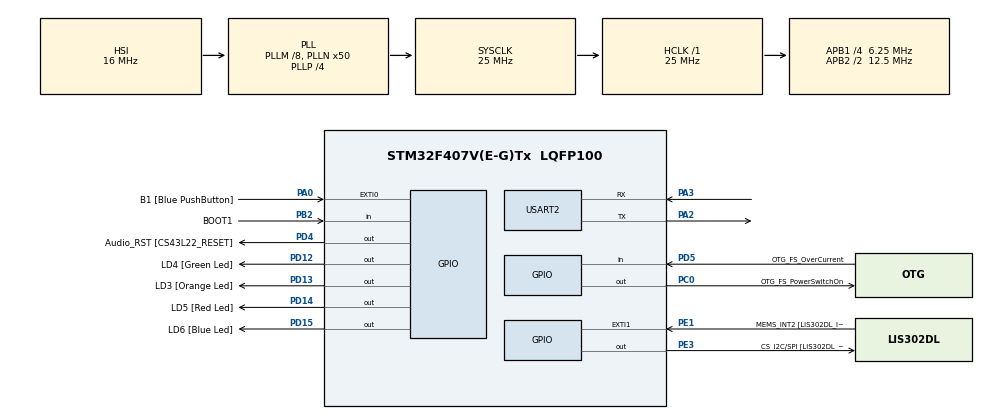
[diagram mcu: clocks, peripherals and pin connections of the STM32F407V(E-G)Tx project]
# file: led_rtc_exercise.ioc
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Mcu.Family=STM32F4
Mcu.Name=STM32F407V(E-G)Tx
Mcu.Package=LQFP100
NVIC.PriorityGroup=NVIC_PRIORITYGROUP_4
NVIC.TIM6_DAC_IRQn=true\:15\:0\:false\:false\:true\:false\:true\:true
NVIC.TimeBase=TIM6_DAC_IRQn
NVIC.TimeBaseIP=TIM6
NVIC.USART2_IRQn=true\:6\:0\:true\:false\:true\:true\:true\:true
PA0-WKUP.GPIO_Label=B1 [Blue PushButton]
PA0-WKUP.Signal=GPXTI0
PA10.GPIO_Label=OTG_FS_ID
PA10.GPIO_Mode=GPIO_MODE_AF_PP
PA10.GPIO_PuPd=GPIO_NOPULL
PA10.GPIO_Speed=GPIO_SPEED_FREQ_LOW
PA10.Signal=USB_OTG_FS_ID
PA11.GPIO_Label=OTG_FS_DM
PA11.GPIO_Mode=GPIO_MODE_AF_PP
PA11.GPIO_PuPd=GPIO_NOPULL
PA11.GPIO_Speed=GPIO_SPEED_FREQ_LOW
PA11.Signal=USB_OTG_FS_DM
PA12.GPIO_Label=OTG_FS_DP
PA12.GPIO_Mode=GPIO_MODE_AF_PP
PA12.GPIO_PuPd=GPIO_NOPULL
PA12.GPIO_Speed=GPIO_SPEED_FREQ_LOW
PA12.Signal=USB_OTG_FS_DP
PA13.GPIO_Label=SWDIO
PA13.Signal=SYS_JTMS-SWDIO
PA14.GPIO_Label=SWCLK
PA14.Signal=SYS_JTCK-SWCLK
PA2.Mode=Asynchronous
PA2.Signal=USART2_TX
PA3.Mode=Asynchronous
PA3.Signal=USART2_RX
PA4.GPIO_Label=I2S3_WS [CS43L22_LRCK]
PA4.GPIO_Mode=GPIO_MODE_AF_PP
PA4.GPIO_PuPd=GPIO_NOPULL
PA4.GPIO_Speed=GPIO_SPEED_FREQ_LOW
PA4.Signal=I2S3_WS
PA5.GPIO_Label=SPI1_SCK [LIS302DL_SCL/SPC]
PA5.GPIO_Mode=GPIO_MODE_AF_PP
PA5.GPIO_PuPd=GPIO_NOPULL
PA5.GPIO_Speed=GPIO_SPEED_FREQ_LOW
PA5.Signal=SPI1_SCK
PA6.GPIO_Label=SPI1_MISO [LIS302DL_SDO]
PA6.GPIO_Mode=GPIO_MODE_AF_PP
PA6.GPIO_PuPd=GPIO_NOPULL
PA6.GPIO_Speed=GPIO_SPEED_FREQ_LOW
PA6.Signal=SPI1_MISO
PA7.GPIO_Label=SPI1_MOSI [LIS302DL_SDA/SDI/SDO]
PA7.GPIO_Mode=GPIO_MODE_AF_PP
PA7.GPIO_PuPd=GPIO_NOPULL
PA7.GPIO_Speed=GPIO_SPEED_FREQ_LOW
PA7.Signal=SPI1_MOSI
PA9.GPIO_Label=VBUS_FS
PA9.GPIO_Mode=GPIO_MODE_INPUT
PA9.GPIO_PuPd=GPIO_NOPULL
PA9.Signal=USB_OTG_FS_VBUS
PB10.GPIO_Label=CLK_IN [MP45DT02_CLK]
PB10.GPIO_Mode=GPIO_MODE_AF_PP
PB10.GPIO_PuPd=GPIO_NOPULL
PB10.GPIO_Speed=GPIO_SPEED_FREQ_LOW
PB10.Signal=I2S2_CK
PB2.GPIO_Label=BOOT1
PB2.GPIO_Mode=GPIO_MODE_INPUT
PB2.GPIO_PuPd=GPIO_NOPULL
PB2.Signal=GPIO_Input
PB3.GPIO_Label=SWO
PB3.Signal=SYS_JTDO-SWO
PB6.GPIO_Label=Audio_SCL [CS43L22_SCL]
PB6.GPIO_Mode=GPIO_MODE_AF_OD
PB6.GPIO_PuPd=GPIO_NOPULL
PB6.GPIO_Speed=GPIO_SPEED_FREQ_LOW
PB6.Signal=I2C1_SCL
PB9.GPIO_Label=Audio_SDA [CS43L22_SDA]
PB9.GPIO_Mode=GPIO_MODE_AF_OD
PB9.GPIO_PuPd=GPIO_NOPULL
PB9.GPIO_Speed=GPIO_SPEED_FREQ_LOW
PB9.Signal=I2C1_SDA
PC0.GPIO_Label=OTG_FS_PowerSwitchOn
PC0.GPIO_PuPd=GPIO_NOPULL
PC0.GPIO_Speed=GPIO_SPEED_FREQ_LOW
PC0.PinState=GPIO_PIN_SET
PC0.Signal=GPIO_Output
PC10.GPIO_Label=I2S3_SCK [CS43L22_SCLK]
PC10.GPIO_Mode=GPIO_MODE_AF_PP
PC10.GPIO_PuPd=GPIO_NOPULL
PC10.GPIO_Speed=GPIO_SPEED_FREQ_LOW
PC10.Signal=I2S3_CK
PC12.GPIO_Label=I2S3_SD [CS43L22_SDIN]
PC12.GPIO_Mode=GPIO_MODE_AF_PP
PC12.GPIO_PuPd=GPIO_NOPULL
PC12.GPIO_Speed=GPIO_SPEED_FREQ_LOW
PC12.Signal=I2S3_SD
PC14-OSC32_IN.GPIO_Label=PC14-OSC32_IN
PC14-OSC32_IN.Signal=RCC_OSC32_IN
PC15-OSC32_OUT.GPIO_Label=PC15-OSC32_OUT
PC15-OSC32_OUT.Signal=RCC_OSC32_OUT
PC3.GPIO_Label=PDM_OUT [MP45DT02_DOUT]
PC3.GPIO_Mode=GPIO_MODE_AF_PP
PC3.GPIO_PuPd=GPIO_NOPULL
PC3.GPIO_Speed=GPIO_SPEED_FREQ_LOW
PC3.Signal=I2S2_SD
PC7.GPIO_Label=I2S3_MCK [CS43L22_MCLK]
PC7.GPIO_Mode=GPIO_MODE_AF_PP
PC7.GPIO_PuPd=GPIO_NOPULL
PC7.GPIO_Speed=GPIO_SPEED_FREQ_LOW
PC7.Signal=I2S3_MCK
PD12.GPIO_Label=LD4 [Green Led]
PD12.GPIO_PuPd=GPIO_NOPULL
PD12.GPIO_Speed=GPIO_SPEED_FREQ_LOW
PD12.Signal=GPIO_Output
PD13.GPIO_Label=LD3 [Orange Led]
PD13.GPIO_PuPd=GPIO_NOPULL
PD13.GPIO_Speed=GPIO_SPEED_FREQ_LOW
PD13.Signal=GPIO_Output
PD14.GPIO_Label=LD5 [Red Led]
PD14.GPIO_PuPd=GPIO_NOPULL
PD14.GPIO_Speed=GPIO_SPEED_FREQ_LOW
PD14.Signal=GPIO_Output
PD15.GPIO_Label=LD6 [Blue Led]
PD15.GPIO_PuPd=GPIO_NOPULL
PD15.GPIO_Speed=GPIO_SPEED_FREQ_LOW
PD15.Signal=GPIO_Output
PD4.GPIO_Label=Audio_RST [CS43L22_RESET]
PD4.GPIO_PuPd=GPIO_NOPULL
PD4.GPIO_Speed=GPIO_SPEED_FREQ_LOW
PD4.Signal=GPIO_Output
PD5.GPIO_Label=OTG_FS_OverCurrent
PD5.GPIO_Mode=GPIO_MODE_INPUT
PD5.GPIO_PuPd=GPIO_NOPULL
PD5.Signal=GPIO_Input
PE1.GPIO_Label=MEMS_INT2 [LIS302DL_INT2]
PE1.GPIO_ModeDefaultEXTI=GPIO_MODE_EVT_RISING
PE1.GPIO_PuPd=GPIO_NOPULL
PE1.Signal=GPXTI1
PE3.GPIO_Label=CS_I2C/SPI [LIS302DL_CS_I2C/SPI]
PE3.GPIO_PuPd=GPIO_NOPULL
PE3.GPIO_Speed=GPIO_SPEED_FREQ_LOW
PE3.Signal=GPIO_Output
PH0-OSC_IN.GPIO_Label=PH0-OSC_IN
PH0-OSC_IN.Signal=RCC_OSC_IN
PH1-OSC_OUT.GPIO_Label=PH1-OSC_OUT
PH1-OSC_OUT.Signal=RCC_OSC_OUT
ProjectManager.HeapSize=0x200
ProjectManager.StackSize=0x400
ProjectManager.TargetToolchain=STM32CubeIDE
RCC.48MHZClocksFreq_Value=14285714.285714285
RCC.AHBFreq_Value=25000000
RCC.APB1CLKDivider=RCC_HCLK_DIV4
RCC.APB1Freq_Value=6250000
RCC.APB1TimFreq_Value=12500000
RCC.APB2CLKDivider=RCC_HCLK_DIV2
RCC.APB2Freq_Value=12500000
RCC.APB2TimFreq_Value=25000000
RCC.CortexFreq_Value=25000000
RCC.HCLKFreq_Value=25000000
RCC.HSE_VALUE=8000000
RCC.HSI_VALUE=16000000
RCC.LSE_VALUE=32768
RCC.PLLM=8
RCC.PLLN=50
RCC.PLLP=RCC_PLLP_DIV4
RCC.PLLQ=7
RCC.SYSCLKFreq_VALUE=25000000
RCC.SYSCLKSource=RCC_SYSCLKSOURCE_PLLCLK
RCC.VCOOutputFreq_Value=100000000
RTC.HourFormat=RTC_HOURFORMAT_12
USART2.VirtualMode=VM_ASYNC
VP_RTC_VS_RTC_Activate.Mode=RTC_Enabled
VP_SYS_VS_tim6.Mode=TIM6
board=STM32F407G-DISC1

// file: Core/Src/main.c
/* USER CODE BEGIN Header */
/**
  ******************************************************************************
  * @file           : main.c
  * @brief          : Main program body
  ******************************************************************************
  * @attention
  *
  * Copyright (c) 2024 STMicroelectronics.
  * All rights reserved.
  *
  * This software is licensed under terms that can be found in the LICENSE file
  * in the root directory of this software component.
  * If no LICENSE file comes with this software, it is provided AS-IS.
  *
  ******************************************************************************
  */
/* USER CODE END Header */
#include "main.h"

RTC_HandleTypeDef hrtc;

UART_HandleTypeDef huart2;

/* USER CODE BEGIN PV */
BaseType_t status;
xTaskHandle handle_cmd_task;
xTaskHandle handle_menu_task;
xTaskHandle handle_print_task;
xTaskHandle handle_led_task;
xTaskHandle handle_rtc_task;

QueueHandle_t q_data;
QueueHandle_t q_print;

//software timer handles
TimerHandle_t  handle_led_timer[4];
TimerHandle_t rtc_timer;

volatile uint8_t user_data;
//state variable
state_t curr_state = sMainMenu;
/* USER CODE END PV */

void SystemClock_Config(void);
static void MX_GPIO_Init(void);
static void MX_USART2_UART_Init(void);
static void MX_RTC_Init(void);
/* USER CODE BEGIN PFP */
void menu_task(void *param);
void led_task(void *param);
void rtc_task(void *param);
void print_task(void *param);
void cmd_handler_task(void *param);
void led_effect_callback(TimerHandle_t xTimer);
void rtc_report_callback( TimerHandle_t xTimer );
/* USER CODE END PFP */

int main(void)
{

  /* MCU Configuration--------------------------------------------------------*/

  /* Reset of all peripherals, Initializes the Flash interface and the Systick. */
  HAL_Init();

  /* Configure the system clock */
  SystemClock_Config();

  /* Initialize all configured peripherals */
  MX_GPIO_Init();
  MX_USART2_UART_Init();
  MX_RTC_Init();
  /* USER CODE BEGIN 2 */

	status = xTaskCreate(menu_task, "menu_task", 250, NULL, 2, &handle_menu_task);

	configASSERT(status == pdPASS);

	status = xTaskCreate(cmd_handler_task, "cmd_task", 250, NULL, 2, &handle_cmd_task);

	configASSERT(status == pdPASS);

	status = xTaskCreate(print_task, "print_task", 250, NULL, 2, &handle_print_task);

	configASSERT(status == pdPASS);

	status = xTaskCreate(led_task, "led_task", 250, NULL, 2, &handle_led_task);

	configASSERT(status == pdPASS);

	status = xTaskCreate(rtc_task, "rtc_task", 250, NULL, 2, &handle_rtc_task);

	configASSERT(status == pdPASS);

	q_data = xQueueCreate (10, sizeof(char));

	configASSERT(q_data != NULL);

	q_print = xQueueCreate (10, sizeof(size_t));

	configASSERT(q_print != NULL);
	//Create software timers for LED effects
	for(int i = 0 ; i < 4 ; i++)
		handle_led_timer[i] = xTimerCreate("led_timer",pdMS_TO_TICKS(500),pdTRUE, (void*)(i+1),led_effect_callback);

	rtc_timer = xTimerCreate ("rtc_report_timer",pdMS_TO_TICKS(1000),pdTRUE,NULL,rtc_report_callback);
	HAL_UART_Receive_IT(&huart2,(uint8_t *)&user_data,1);
  /* USER CODE END 2 */

  /* Infinite loop */
  while (1)
  {

  }
}

void SystemClock_Config(void)
{
  RCC_OscInitTypeDef RCC_OscInitStruct = {0};
  RCC_ClkInitTypeDef RCC_ClkInitStruct = {0};

  /** Configure the main internal regulator output voltage
  */
  __HAL_RCC_PWR_CLK_ENABLE();
  __HAL_PWR_VOLTAGESCALING_CONFIG(PWR_REGULATOR_VOLTAGE_SCALE1);

  /** Initializes the RCC Oscillators according to the specified parameters
  * in the RCC_OscInitTypeDef structure.
  */
  RCC_OscInitStruct.OscillatorType = RCC_OSCILLATORTYPE_HSI|RCC_OSCILLATORTYPE_LSI;
  RCC_OscInitStruct.HSIState = RCC_HSI_ON;
  RCC_OscInitStruct.HSICalibrationValue = RCC_HSICALIBRATION_DEFAULT;
  RCC_OscInitStruct.LSIState = RCC_LSI_ON;
  RCC_OscInitStruct.PLL.PLLState = RCC_PLL_ON;
  RCC_OscInitStruct.PLL.PLLSource = RCC_PLLSOURCE_HSI;
  RCC_OscInitStruct.PLL.PLLM = 8;
  RCC_OscInitStruct.PLL.PLLN = 50;
  RCC_OscInitStruct.PLL.PLLP = RCC_PLLP_DIV4;
  RCC_OscInitStruct.PLL.PLLQ = 7;
  if (HAL_RCC_OscConfig(&RCC_OscInitStruct) != HAL_OK)
  {
    Error_Handler();
  }

  /** Initializes the CPU, AHB and APB buses clocks
  */
  RCC_ClkInitStruct.ClockType = RCC_CLOCKTYPE_HCLK|RCC_CLOCKTYPE_SYSCLK
                              |RCC_CLOCKTYPE_PCLK1|RCC_CLOCKTYPE_PCLK2;
  RCC_ClkInitStruct.SYSCLKSource = RCC_SYSCLKSOURCE_PLLCLK;
  RCC_ClkInitStruct.AHBCLKDivider = RCC_SYSCLK_DIV1;
  RCC_ClkInitStruct.APB1CLKDivider = RCC_HCLK_DIV4;
  RCC_ClkInitStruct.APB2CLKDivider = RCC_HCLK_DIV2;

  if (HAL_RCC_ClockConfig(&RCC_ClkInitStruct, FLASH_LATENCY_0) != HAL_OK)
  {
    Error_Handler();
  }
}

static void MX_RTC_Init(void)
{

  /** Initialize RTC Only
  */
  hrtc.Instance = RTC;
  hrtc.Init.HourFormat = RTC_HOURFORMAT_12;
  hrtc.Init.AsynchPrediv = 127;
  hrtc.Init.SynchPrediv = 255;
  hrtc.Init.OutPut = RTC_OUTPUT_DISABLE;
  hrtc.Init.OutPutPolarity = RTC_OUTPUT_POLARITY_HIGH;
  hrtc.Init.OutPutType = RTC_OUTPUT_TYPE_OPENDRAIN;
  if (HAL_RTC_Init(&hrtc) != HAL_OK)
  {
    Error_Handler();
  }

}

static void MX_USART2_UART_Init(void)
{

  huart2.Instance = USART2;
  huart2.Init.BaudRate = 115200;
  huart2.Init.WordLength = UART_WORDLENGTH_8B;
  huart2.Init.StopBits = UART_STOPBITS_1;
  huart2.Init.Parity = UART_PARITY_NONE;
  huart2.Init.Mode = UART_MODE_TX_RX;
  huart2.Init.HwFlowCtl = UART_HWCONTROL_NONE;
  huart2.Init.OverSampling = UART_OVERSAMPLING_16;
  if (HAL_UART_Init(&huart2) != HAL_OK)
  {
    Error_Handler();
  }

}

static void MX_GPIO_Init(void)
{
  GPIO_InitTypeDef GPIO_InitStruct = {0};

  /* GPIO Ports Clock Enable */
  __HAL_RCC_GPIOE_CLK_ENABLE();
  __HAL_RCC_GPIOC_CLK_ENABLE();
  __HAL_RCC_GPIOH_CLK_ENABLE();
  __HAL_RCC_GPIOA_CLK_ENABLE();
  __HAL_RCC_GPIOB_CLK_ENABLE();
  __HAL_RCC_GPIOD_CLK_ENABLE();

  /*Configure GPIO pin Output Level */
  HAL_GPIO_WritePin(CS_I2C_SPI_GPIO_Port, CS_I2C_SPI_Pin, GPIO_PIN_RESET);

  /*Configure GPIO pin Output Level */
  HAL_GPIO_WritePin(OTG_FS_PowerSwitchOn_GPIO_Port, OTG_FS_PowerSwitchOn_Pin, GPIO_PIN_SET);

  /*Configure GPIO pin Output Level */
  HAL_GPIO_WritePin(GPIOD, LD4_Pin|LD3_Pin|LD5_Pin|LD6_Pin
                          |Audio_RST_Pin, GPIO_PIN_RESET);

  /*Configure GPIO pin : CS_I2C_SPI_Pin */
  GPIO_InitStruct.Pin = CS_I2C_SPI_Pin;
  GPIO_InitStruct.Mode = GPIO_MODE_OUTPUT_PP;
  GPIO_InitStruct.Pull = GPIO_NOPULL;
  GPIO_InitStruct.Speed = GPIO_SPEED_FREQ_LOW;
  HAL_GPIO_Init(CS_I2C_SPI_GPIO_Port, &GPIO_InitStruct);

  /*Configure GPIO pin : OTG_FS_PowerSwitchOn_Pin */
  GPIO_InitStruct.Pin = OTG_FS_PowerSwitchOn_Pin;
  GPIO_InitStruct.Mode = GPIO_MODE_OUTPUT_PP;
  GPIO_InitStruct.Pull = GPIO_NOPULL;
  GPIO_InitStruct.Speed = GPIO_SPEED_FREQ_LOW;
  HAL_GPIO_Init(OTG_FS_PowerSwitchOn_GPIO_Port, &GPIO_InitStruct);

  /*Configure GPIO pin : PDM_OUT_Pin */
  GPIO_InitStruct.Pin = PDM_OUT_Pin;
  GPIO_InitStruct.Mode = GPIO_MODE_AF_PP;
  GPIO_InitStruct.Pull = GPIO_NOPULL;
  GPIO_InitStruct.Speed = GPIO_SPEED_FREQ_LOW;
  GPIO_InitStruct.Alternate = GPIO_AF5_SPI2;
  HAL_GPIO_Init(PDM_OUT_GPIO_Port, &GPIO_InitStruct);

  /*Configure GPIO pin : B1_Pin */
  GPIO_InitStruct.Pin = B1_Pin;
  GPIO_InitStruct.Mode = GPIO_MODE_IT_RISING;
  GPIO_InitStruct.Pull = GPIO_NOPULL;
  HAL_GPIO_Init(B1_GPIO_Port, &GPIO_InitStruct);

  /*Configure GPIO pin : I2S3_WS_Pin */
  GPIO_InitStruct.Pin = I2S3_WS_Pin;
  GPIO_InitStruct.Mode = GPIO_MODE_AF_PP;
  GPIO_InitStruct.Pull = GPIO_NOPULL;
  GPIO_InitStruct.Speed = GPIO_SPEED_FREQ_LOW;
  GPIO_InitStruct.Alternate = GPIO_AF6_SPI3;
  HAL_GPIO_Init(I2S3_WS_GPIO_Port, &GPIO_InitStruct);

  /*Configure GPIO pins : SPI1_SCK_Pin SPI1_MISO_Pin SPI1_MOSI_Pin */
  GPIO_InitStruct.Pin = SPI1_SCK_Pin|SPI1_MISO_Pin|SPI1_MOSI_Pin;
  GPIO_InitStruct.Mode = GPIO_MODE_AF_PP;
  GPIO_InitStruct.Pull = GPIO_NOPULL;
  GPIO_InitStruct.Speed = GPIO_SPEED_FREQ_LOW;
  GPIO_InitStruct.Alternate = GPIO_AF5_SPI1;
  HAL_GPIO_Init(GPIOA, &GPIO_InitStruct);

  /*Configure GPIO pin : BOOT1_Pin */
  GPIO_InitStruct.Pin = BOOT1_Pin;
  GPIO_InitStruct.Mode = GPIO_MODE_INPUT;
  GPIO_InitStruct.Pull = GPIO_NOPULL;
  HAL_GPIO_Init(BOOT1_GPIO_Port, &GPIO_InitStruct);

  /*Configure GPIO pin : CLK_IN_Pin */
  GPIO_InitStruct.Pin = CLK_IN_Pin;
  GPIO_InitStruct.Mode = GPIO_MODE_AF_PP;
  GPIO_InitStruct.Pull = GPIO_NOPULL;
  GPIO_InitStruct.Speed = GPIO_SPEED_FREQ_LOW;
  GPIO_InitStruct.Alternate = GPIO_AF5_SPI2;
  HAL_GPIO_Init(CLK_IN_GPIO_Port, &GPIO_InitStruct);

  /*Configure GPIO pins : LD4_Pin LD3_Pin LD5_Pin LD6_Pin
                           Audio_RST_Pin */
  GPIO_InitStruct.Pin = LD4_Pin|LD3_Pin|LD5_Pin|LD6_Pin
                          |Audio_RST_Pin;
  GPIO_InitStruct.Mode = GPIO_MODE_OUTPUT_PP;
  GPIO_InitStruct.Pull = GPIO_NOPULL;
  GPIO_InitStruct.Speed = GPIO_SPEED_FREQ_LOW;
  HAL_GPIO_Init(GPIOD, &GPIO_InitStruct);

  /*Configure GPIO pins : I2S3_MCK_Pin I2S3_SCK_Pin I2S3_SD_Pin */
  GPIO_InitStruct.Pin = I2S3_MCK_Pin|I2S3_SCK_Pin|I2S3_SD_Pin;
  GPIO_InitStruct.Mode = GPIO_MODE_AF_PP;
  GPIO_InitStruct.Pull = GPIO_NOPULL;
  GPIO_InitStruct.Speed = GPIO_SPEED_FREQ_LOW;
  GPIO_InitStruct.Alternate = GPIO_AF6_SPI3;
  HAL_GPIO_Init(GPIOC, &GPIO_InitStruct);

  /*Configure GPIO pin : VBUS_FS_Pin */
  GPIO_InitStruct.Pin = VBUS_FS_Pin;
  GPIO_InitStruct.Mode = GPIO_MODE_INPUT;
  GPIO_InitStruct.Pull = GPIO_NOPULL;
  HAL_GPIO_Init(VBUS_FS_GPIO_Port, &GPIO_InitStruct);

  /*Configure GPIO pins : OTG_FS_ID_Pin OTG_FS_DM_Pin OTG_FS_DP_Pin */
  GPIO_InitStruct.Pin = OTG_FS_ID_Pin|OTG_FS_DM_Pin|OTG_FS_DP_Pin;
  GPIO_InitStruct.Mode = GPIO_MODE_AF_PP;
  GPIO_InitStruct.Pull = GPIO_NOPULL;
  GPIO_InitStruct.Speed = GPIO_SPEED_FREQ_LOW;
  GPIO_InitStruct.Alternate = GPIO_AF10_OTG_FS;
  HAL_GPIO_Init(GPIOA, &GPIO_InitStruct);

  /*Configure GPIO pin : OTG_FS_OverCurrent_Pin */
  GPIO_InitStruct.Pin = OTG_FS_OverCurrent_Pin;
  GPIO_InitStruct.Mode = GPIO_MODE_INPUT;
  GPIO_InitStruct.Pull = GPIO_NOPULL;
  HAL_GPIO_Init(OTG_FS_OverCurrent_GPIO_Port, &GPIO_InitStruct);

  /*Configure GPIO pins : Audio_SCL_Pin Audio_SDA_Pin */
  GPIO_InitStruct.Pin = Audio_SCL_Pin|Audio_SDA_Pin;
  GPIO_InitStruct.Mode = GPIO_MODE_AF_OD;
  GPIO_InitStruct.Pull = GPIO_NOPULL;
  GPIO_InitStruct.Speed = GPIO_SPEED_FREQ_LOW;
  GPIO_InitStruct.Alternate = GPIO_AF4_I2C1;
  HAL_GPIO_Init(GPIOB, &GPIO_InitStruct);

  /*Configure GPIO pin : MEMS_INT2_Pin */
  GPIO_InitStruct.Pin = MEMS_INT2_Pin;
  GPIO_InitStruct.Mode = GPIO_MODE_EVT_RISING;
  GPIO_InitStruct.Pull = GPIO_NOPULL;
  HAL_GPIO_Init(MEMS_INT2_GPIO_Port, &GPIO_InitStruct);

}

/* USER CODE BEGIN 4 */
void rtc_report_callback( TimerHandle_t xTimer )
{
	 show_time_date_itm();

}
void led_effect_callback(TimerHandle_t xTimer)
{
	 int id;
	 id = ( uint32_t ) pvTimerGetTimerID( xTimer );

	 switch(id)
	 {
	 case 1 :
		 LED_effect1();
		 break;
	 case 2:
		 LED_effect2();
		 break;
	 case 3:
		 LED_effect3();
		 break;
	 case 4:
		 LED_effect4();
	 }

}
void HAL_UART_RxCpltCallback(UART_HandleTypeDef *huart)
{
	uint8_t dummy;

	//loop fixed issue with different numbers
	for(uint32_t i = 0 ; i < 4000 ; i++);

	if(! xQueueIsQueueFullFromISR(q_data))
	{
		xQueueSendFromISR(q_data,(void*)&user_data,0);

	}else{
		/*Queue is full */

		if(user_data == '\n')
		{
			xQueueReceiveFromISR(q_data,(void *) &dummy, 0);

			xQueueSendFromISR(q_data,(void *) &user_data,0);
		}
	}

	if(user_data == '\n')
		{
			xTaskNotifyFromISR(handle_cmd_task,0,eNoAction,NULL);
		}

	HAL_UART_Receive_IT(&huart2,(uint8_t *)&user_data,1);

}
/* USER CODE END 4 */

void HAL_TIM_PeriodElapsedCallback(TIM_HandleTypeDef *htim)
{
  if (htim->Instance == TIM6) {
    HAL_IncTick();
  }
}

void Error_Handler(void)
{
  __disable_irq();
  while (1)
  {
  }
}
